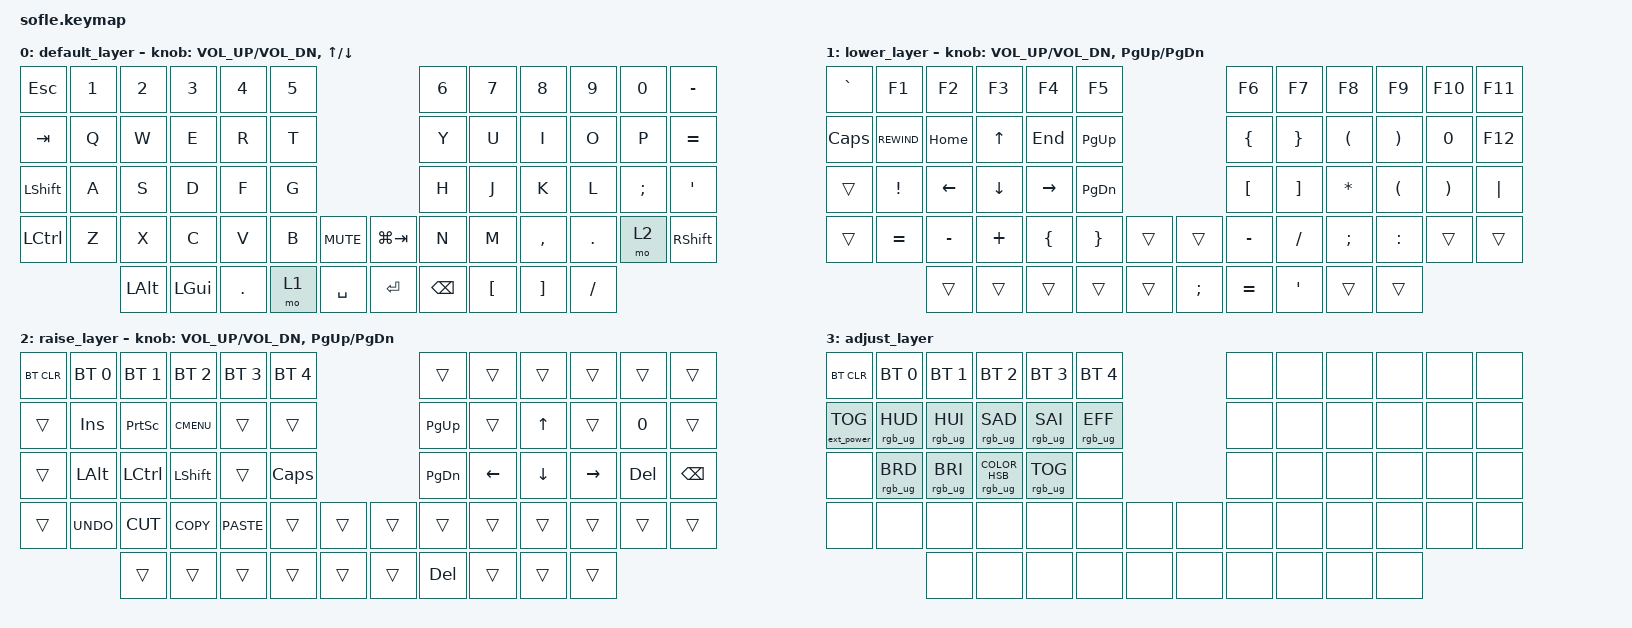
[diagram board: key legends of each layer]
/*
 * Copyright (c) 2020 The ZMK Contributors
 *
 * SPDX-License-Identifier: MIT
 */

#include <behaviors.dtsi>
#include <dt-bindings/zmk/bt.h>
#include <dt-bindings/zmk/ext_power.h>
#include <dt-bindings/zmk/keys.h>
#include <dt-bindings/zmk/rgb.h>

#define BASE 0
#define LOWER 1
#define RAISE 2
#define ADJUST 3

/ {
    // Activate ADJUST layer by pressing raise and lower

    conditional_layers {
        compatible = "zmk,conditional-layers";

        adjust_layer {
            if-layers = <LOWER RAISE>;
            then-layer = <ADJUST>;
        };
    };

    combos {
        compatible = "zmk,combos";

        Tester {
            bindings = <&kp A>;
            key-positions = <48>;
            layers = <0>;
        };
    };

    keymap {
        compatible = "zmk,keymap";

        default_layer {
            // ------------------------------------------------------------------------------------------------------------
            // |   `   |  1  |  2  |  3   |  4   |  5   |                   |  6   |  7    |  8    |  9   |   0   |       |
            // |  ESC  |  Q  |  W  |  E   |  R   |  T   |                   |  Y   |  U    |  I    |  O   |   P   | BKSPC |
            // |  TAB  |  A  |  S  |  D   |  F   |  G   |                   |  H   |  J    |  K    |  L   |   ;   |   '   |
            // | SHIFT |  Z  |  X  |  C   |  V   |  B   |  MUTE  |  |       |  N   |  M    |  ,    |  .   |   /   | SHIFT |
            //               | GUI | ALT  | CTRL | LOWER|  ENTER |  | SPACE | RAISE| CTRL  | ALT   | GUI  |

            bindings = <
&kp ESCAPE      &kp N1  &kp N2        &kp N3        &kp N4      &kp N5                             &kp N6         &kp N7            &kp N8             &kp N9     &kp N0    &kp MINUS
&kp TAB         &kp Q   &kp W         &kp E         &kp R       &kp T                              &kp Y          &kp U             &kp I              &kp O      &kp P     &kp EQUAL
&kp LEFT_SHIFT  &kp A   &kp S         &kp D         &kp F       &kp G                              &kp H          &kp J             &kp K              &kp L      &kp SEMI  &kp SQT
&kp LCTRL       &kp Z   &kp X         &kp C         &kp V       &kp B   &kp C_MUTE    &kp LG(TAB)  &kp N          &kp M             &kp COMMA          &kp DOT    &mo 2     &kp RIGHT_SHIFT
                        &kp LEFT_ALT  &kp LEFT_GUI  &kp PERIOD  &mo 1   &kp SPACE     &kp ENTER    &kp BACKSPACE  &kp LEFT_BRACKET  &kp RIGHT_BRACKET  &kp SLASH
            >;

            sensor-bindings =
                <&inc_dec_kp C_VOL_UP C_VOL_DN>,
                <&inc_dec_kp UP_ARROW DOWN_ARROW>;
        };

        lower_layer {
            // TODO: Some binds are waiting for shifted keycode support.
            // ------------------------------------------------------------------------------------------------------------
            // |       |  F1 |  F2 |  F3  |  F4  |  F5  |                   |  F6  |  F7   |  F8   |  F9  |  F10  |  F11  |
            // |   `   |  1  |  2  |  3   |  4   |  5   |                   |  6   |  7    |  8    |  9   |   0   |  F12  |
            // |       |  !  |  @  |  #   |  $   |  %   |                   |  ^   |  &    |  *    |  (   |   )   |   |   |
            // |       |  =  |  -  |  +   |  {   |  }   |        |  |       |  [   |  ]    |  ;    |  :   |   \   |       |
            //               |     |      |      |      |        |  |       |      |       |       |      |

            bindings = <
&kp GRAVE     &kp F1        &kp F2          &kp F3          &kp F4           &kp F5                             &kp F6            &kp F7             &kp F8                &kp F9                 &kp F10   &kp F11
&kp CAPSLOCK  &kp C_REWIND  &kp HOME        &kp UP_ARROW    &kp END          &kp PAGE_UP                        &kp LEFT_BRACE    &kp RIGHT_BRACE    &kp LEFT_PARENTHESIS  &kp RIGHT_PARENTHESIS  &kp N0    &kp F12
&trans        &kp EXCL      &kp LEFT_ARROW  &kp DOWN_ARROW  &kp RIGHT_ARROW  &kp PAGE_DOWN                      &kp LEFT_BRACKET  &kp RIGHT_BRACKET  &kp ASTRK             &kp LPAR               &kp RPAR  &kp PIPE
&trans        &kp EQUAL     &kp MINUS       &kp PLUS        &kp LBRC         &kp RBRC       &trans    &trans    &kp MINUS         &kp SLASH          &kp SEMI              &kp COLON              &trans    &trans
                            &trans          &trans          &trans           &trans         &trans    &kp SEMI  &kp EQUAL         &kp SINGLE_QUOTE   &trans                &trans
            >;

            sensor-bindings = <&inc_dec_kp C_VOL_UP C_VOL_DN &inc_dec_kp PG_UP PG_DN>;
        };

        raise_layer {
            // ------------------------------------------------------------------------------------------------------------
            // | BTCLR | BT1  | BT2  |  BT3  |  BT4  |  BT5 |                |      |      |       |      |       |       |
            // |       | INS  | PSCR | GUI   |       |      |                | PGUP |      |   ^   |      |       |       |
            // |       | ALT  | CTRL | SHIFT |       | CAPS |                | PGDN |   <- |   v   |  ->  |  DEL  | BKSPC |
            // |       | UNDO | CUT  | COPY  | PASTE |      |      |  |      |      |      |       |      |       |       |
            //                |      |       |       |      |      |  |      |      |      |       |      |

            bindings = <
&bt BT_CLR  &bt BT_SEL 0  &bt BT_SEL 1  &bt BT_SEL 2  &bt BT_SEL 3  &bt BT_SEL 4                    &trans     &trans    &trans    &trans     &trans   &trans
&trans      &kp INS       &kp PSCRN     &kp K_CMENU   &trans        &trans                          &kp PG_UP  &trans    &kp UP    &trans     &kp N0   &trans
&trans      &kp LALT      &kp LCTRL     &kp LSHFT     &trans        &kp CLCK                        &kp PG_DN  &kp LEFT  &kp DOWN  &kp RIGHT  &kp DEL  &kp BSPC
&trans      &kp K_UNDO    &kp K_CUT     &kp K_COPY    &kp K_PASTE   &trans        &trans    &trans  &trans     &trans    &trans    &trans     &trans   &trans
                          &trans        &trans        &trans        &trans        &trans    &trans  &kp DEL    &trans    &trans    &trans
            >;

            sensor-bindings = <&inc_dec_kp C_VOL_UP C_VOL_DN &inc_dec_kp PG_UP PG_DN>;
        };

        adjust_layer {
            // ----------------------------------------------------------------------------------------------------------------------------
            // | BTCLR  |  BT1    |  BT2    |   BT3   |   BT4   |   BT5   |                  |      |      |       |      |       |       |
            // | EXTPWR | RGB_HUD | RGB_HUI | RGB_SAD | RGB_SAI | RGB_EFF |                  |      |      |       |      |       |       |
            // |        | RGB_BRD | RGB_BRI |         |         |         |                  |      |      |       |      |       |       |
            // |        |         |         |         |         |         | RGB_TOG | |      |      |      |       |      |       |       |
            //                    |         |         |         |         |         | |      |      |      |       |      |

            bindings = <
&bt BT_CLR         &bt BT_SEL 0     &bt BT_SEL 1     &bt BT_SEL 2                      &bt BT_SEL 3     &bt BT_SEL 4                     &none  &none  &none  &none  &none  &none
&ext_power EP_TOG  &rgb_ug RGB_HUD  &rgb_ug RGB_HUI  &rgb_ug RGB_SAD                   &rgb_ug RGB_SAI  &rgb_ug RGB_EFF                  &none  &none  &none  &none  &none  &none
&none              &rgb_ug RGB_BRD  &rgb_ug RGB_BRI  &rgb_ug RGB_COLOR_HSB(124,93,78)  &rgb_ug RGB_TOG  &none                            &none  &none  &none  &none  &none  &none
&none              &none            &none            &none                             &none            &none            &none    &none  &none  &none  &none  &none  &none  &none
                                    &none            &none                             &none            &none            &none    &none  &none  &none  &none  &none
            >;
        };

        extra1 { status = "reserved"; };

        extra2 { status = "reserved"; };

        extra3 { status = "reserved"; };

        extra4 { status = "reserved"; };
    };
};
